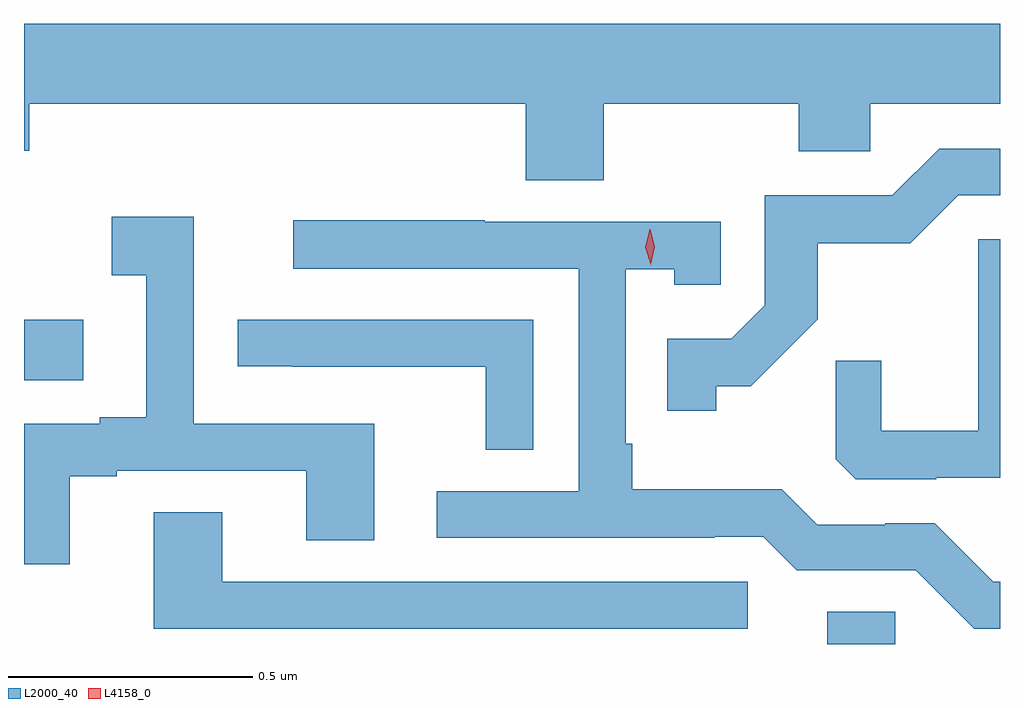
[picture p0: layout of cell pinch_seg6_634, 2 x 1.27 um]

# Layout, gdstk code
import gdstk
lib = gdstk.Library(unit=1e-6, precision=1e-09)
def R(c, l, rs):  # rectangles x0, y0, x1, y1
    for r in rs: c.add(gdstk.rectangle(r[:2], r[2:], *l))
def P(c, l, *ps):  # polygons
    for p in ps: c.add(gdstk.Polygon(p, *l))
L2000_40 = (2000, 40)
L4158_0 = (4158, 0)

pinch_seg6_634 = lib.new_cell('pinch_seg6_634')
R(pinch_seg6_634, L2000_40, [(458.459,962.212,458.598,962.279), (456.813,962.753,456.934,962.877)])
P(pinch_seg6_634, L2000_40, [(458.001,963.32),(458.401,963.32),(458.401,963.222),(458.547,963.222),(458.547,963.32),(458.813,963.32),(458.813,963.484),(456.813,963.484),(456.813,963.224),(456.824,963.224),(456.824,963.32),(457.841,963.32),(457.841,963.163),(458.001,963.163)],
  [(458.232,962.741),(458.302,962.741),(458.44,962.878),(458.44,963.034),(458.629,963.034),(458.727,963.132),(458.813,963.132),(458.813,963.228),(458.688,963.228),(458.592,963.132),(458.331,963.132),(458.331,962.907),(458.262,962.838),(458.131,962.838),(458.131,962.691),(458.232,962.691)],
  [(456.907,962.556),(457.003,962.556),(457.003,962.568),(457.391,962.568),(457.391,962.425),(457.531,962.425),(457.531,962.664),(457.161,962.664),(457.161,963.088),(456.993,963.088),(456.993,962.968),(457.064,962.968),(457.064,962.677),(456.968,962.677),(456.968,962.664),(456.813,962.664),(456.813,962.376),(456.907,962.376)],
  [(458.813,962.34),(458.799,962.34),(458.679,962.46),(458.578,962.46),(458.578,962.457),(458.439,962.457),(458.366,962.53),(458.059,962.53),(458.059,962.623),(458.046,962.623),(458.046,962.981),(458.145,962.981),(458.145,962.949),(458.241,962.949),(458.241,963.078),(457.757,963.078),(457.757,963.081),(457.365,963.081),(457.365,962.982),(457.95,962.982),(457.95,962.526),(457.659,962.526),(457.659,962.43),(458.228,962.43),(458.228,962.433),(458.328,962.433),(458.397,962.364),(458.64,962.364),(458.76,962.244),(458.813,962.244)],
  [(458.682,962.553),(458.813,962.553),(458.813,963.042),(458.768,963.042),(458.768,962.65),(458.57,962.65),(458.57,962.793),(458.476,962.793),(458.476,962.591),(458.517,962.55),(458.682,962.55)],
  [(457.857,962.877),(457.251,962.877),(457.251,962.782),(457.363,962.782),(457.363,962.781),(457.759,962.781),(457.759,962.611),(457.857,962.611)],
  [(458.296,962.34),(457.219,962.34),(457.219,962.483),(457.079,962.483),(457.079,962.244),(458.296,962.244)])
P(pinch_seg6_634, L4158_0, [(458.097,962.99),(458.097,962.991),(458.086,963.026),(458.095,963.063),(458.096,963.063),(458.096,963.063),(458.106,963.027),(458.097,962.991)])

lib.write_gds('pinch_seg6_634.gds')
